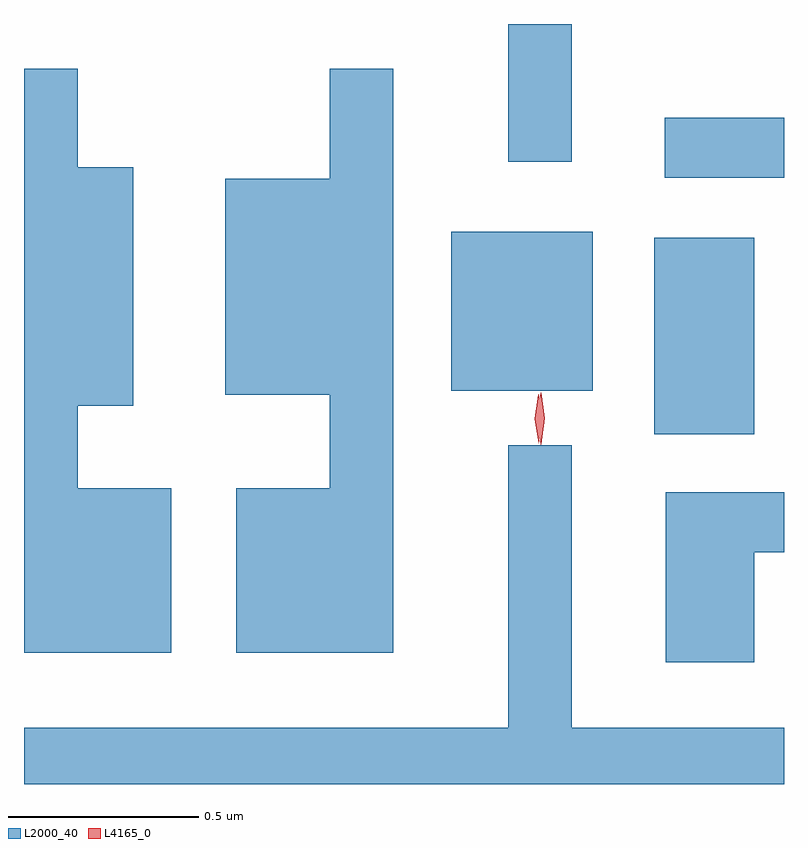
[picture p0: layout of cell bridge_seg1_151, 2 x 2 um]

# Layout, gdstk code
import gdstk
lib = gdstk.Library(unit=1e-6, precision=1e-09)
def R(c, l, rs):  # rectangles x0, y0, x1, y1
    for r in rs: c.add(gdstk.rectangle(r[:2], r[2:], *l))
def P(c, l, *ps):  # polygons
    for p in ps: c.add(gdstk.Polygon(p, *l))
L2000_40 = (2000, 40)
L4165_0 = (4165, 0)

bridge_seg1_151 = lib.new_cell('bridge_seg1_151')
R(bridge_seg1_151, L2000_40, [(927.166,947.236,927.429,947.754), (926.631,947.351,927.004,947.769), (927.193,947.911,927.507,948.069), (926.781,947.953,926.949,948.316)])
P(bridge_seg1_151, L2000_40, [(925.894,947.094),(925.649,947.094),(925.649,947.311),(925.794,947.311),(925.794,947.939),(925.649,947.939),(925.649,948.198),(925.507,948.198),(925.507,946.661),(925.894,946.661)],
  [(926.479,948.198),(926.311,948.198),(926.311,947.909),(926.036,947.909),(926.036,947.341),(926.311,947.341),(926.311,947.094),(926.066,947.094),(926.066,946.661),(926.479,946.661)],
  [(927.507,946.464),(926.949,946.464),(926.949,947.208),(926.781,947.208),(926.781,946.464),(925.507,946.464),(925.507,946.316),(927.507,946.316)],
  [(927.429,946.926),(927.507,946.926),(927.507,947.084),(927.196,947.084),(927.196,946.636),(927.429,946.636)])
P(bridge_seg1_151, L4165_0, [(926.867,947.209),(926.867,947.21),(926.857,947.278),(926.867,947.346),(926.867,947.346),(926.868,947.346),(926.877,947.278),(926.868,947.21)],
  [(926.861,947.213),(926.861,947.213),(926.851,947.277),(926.86,947.341),(926.861,947.342),(926.861,947.341),(926.871,947.277),(926.862,947.213)])

lib.write_gds('bridge_seg1_151.gds')
